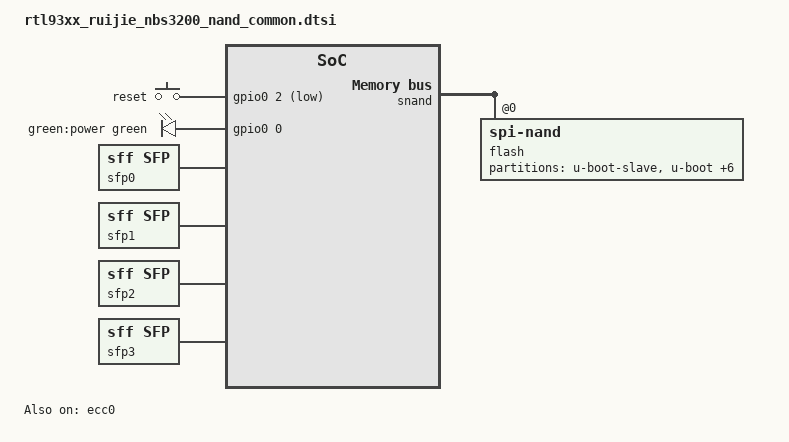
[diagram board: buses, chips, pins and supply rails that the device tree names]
// SPDX-License-Identifier: (GPL-2.0-or-later or MIT)
/* Common bits for Ruijie Reyee NBS3200-48GT4XS (RTL9311, SPI NAND only) */

#include <dt-bindings/gpio/gpio.h>
#include <dt-bindings/input/input.h>
#include <dt-bindings/leds/common.h>

/ {
	aliases {
		label-mac-device = &ethernet0;
		led-boot = &led_power;
		led-failsafe = &led_power;
		led-running = &led_power;
		led-upgrade = &led_power;
	};

	keys {
		compatible = "gpio-keys-polled";
		poll-interval = <100>;

		reset {
			label = "reset";
			gpios = <&gpio0 2 GPIO_ACTIVE_LOW>;
			linux,code = <KEY_RESTART>;
		};
	};

	leds {
		compatible = "gpio-leds";
		pinctrl-names = "default";
		pinctrl-0 = <&pinmux_disable_sys_led>;

		led_power: led-0 {
			label = "green:power";
			color = <LED_COLOR_ID_GREEN>;
			function = LED_FUNCTION_POWER;
			gpios = <&gpio0 0 GPIO_ACTIVE_HIGH>;
			linux,default-trigger = "heartbeat";
		};
	};

	/* SFP cages: i2c/GPIO wiring unknown yet, populate during bring-up */
	sfp0: sfp-p49 {
		compatible = "sff,sfp";
	};
	sfp1: sfp-p50 {
		compatible = "sff,sfp";
	};
	sfp2: sfp-p51 {
		compatible = "sff,sfp";
	};
	sfp3: sfp-p52 {
		compatible = "sff,sfp";
	};
};

&ecc0 {
	status = "okay";
};

&ethernet0 {
	nvmem-cells = <&macaddr_ubootenv_ethaddr 0>;
	nvmem-cell-names = "mac-address";
};

&snand {
	status = "okay";
	flash@0 {
		compatible = "spi-nand";
		reg = <0>;

		nand-ecc-engine = <&ecc0>;
		nand-ecc-strength = <6>;
		nand-ecc-step-size = <512>;
		nand-ecc-algo = "bch";
		nand-ecc-placement = "oob";

		partitions {
			compatible = "fixed-partitions";
			#address-cells = <1>;
			#size-cells = <1>;

			partition@0 {
				label = "u-boot-slave";
				reg = <0x0 0x200000>;
				read-only;
			};
			partition@200000 {
				label = "u-boot";
				reg = <0x200000 0x200000>;
				read-only;
			};
			partition@400000 {
				label = "u-boot-env";
				reg = <0x400000 0x100000>;

				nvmem-layout {
					compatible = "u-boot,env";

					macaddr_ubootenv_ethaddr: ethaddr {
						#nvmem-cell-cells = <1>;
					};
				};
			};
			partition@500000 {
				label = "product_info";
				reg = <0x500000 0x200000>;
				read-only;
			};
			partition@700000 {
				label = "kdump";
				reg = <0x700000 0x100000>;
				read-only;
			};
			partition@800000 {
				label = "factory_test0";
				reg = <0x800000 0x200000>;
			};
			partition@a00000 {
				label = "kernel";
				reg = <0xa00000 0x200000>;
			};
			partition@c00000 {
				label = "ubi";
				reg = <0xc00000 0xf400000>;
			};
		};
	};
};
